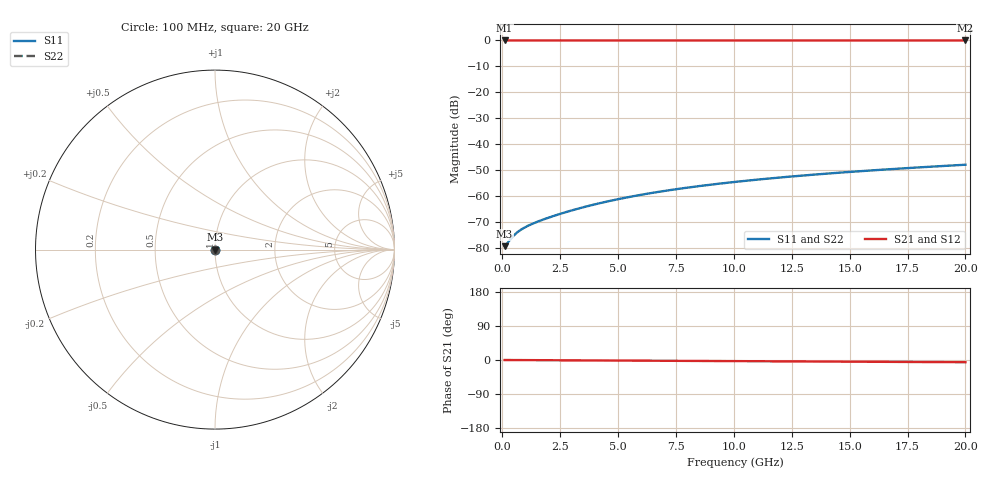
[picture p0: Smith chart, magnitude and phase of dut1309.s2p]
! Touchstone file exported from HFSS 2026.1.0
!  File:  C:/ffzhzh/LocalFiles/Ansys_Project_Files/temp_train_TSV_1309_1783194909_55132.aedt
!  Generated:  03:56:40 AM Jul  5, 2026
!  Design:  TSV
!  Project:  temp_train_TSV_1309_1783194909_55132
! Variables:
!  h_bsmrdl = 2um
!  h_ox = 20um
!  h_rdl = 5um
!  h_sub = 57.36um
!  h_tmrdl = 5um
!  h_tsv = 57.36um
!  h_via = 3um
!  l_bsmrdl = 300um
!  l_sub = 419.58um
!  l_tmrdl = 200um
!  m_sub = 200um
!  pitch = 37.68um
!  r_tsv = 9.79um
!  s_tmrdl = 10um
!  w_bsmrdl = 18um
!  w_sub = 500um
!  w_tmrdl = 12um
!  x_tsv_center1 = 206um
!  x_tsv_center2 = 524um
!  x_tsv_center3 = 736um
!  x_tsv_center4 = 1054um
!  x_tsv_center5 = 1266um
!  x_tsv_center6 = 1584um
# GHz S MA R 50.000000
! Terminal data exported
! Port[1] = TSV1_1_T1
! Port[2] = TSV1_1_T2
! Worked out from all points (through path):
!   200 points, 100 MHz to 20 GHz, reference 50 ohm
!   highest |S21| = 0.00 dB at 100 MHz (marker M1); lowest = 0.0 dB at 20 GHz (marker M2)
!   lowest |S11| = -79.5 dB at 100 MHz (marker M3), VSWR 1.00, Z = 50 + j0.00153 ohm
!   |S11| at or under -10 dB: start of sweep to end of sweep
!   |S22| runs from -79.5 to -48.0 dB; largest |S21 - S12| = 3e-15
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0.1  0.0001062 8.3  0.9999 -0.0  0.9999 -0.0  0.0001062 8.3
! Gamma 0 0 0 0
! Port Impedance 50 0 50 0
0.2  0.0001185 13.8  0.9999 -0.1  0.9999 -0.1  0.0001185 13.8
0.4  0.0001533 15.5  0.9999 -0.1  0.9999 -0.1  0.0001533 15.4
0.5  0.0001714 13.4  0.9998 -0.2  0.9998 -0.2  0.0001714 13.4
0.6  0.0001887 10.5  0.9998 -0.2  0.9998 -0.2  0.0001887 10.5
0.8  0.0002203 3.8  0.9998 -0.2  0.9998 -0.2  0.0002203 3.8
1.1  0.0002619 -6.2  0.9997 -0.3  0.9997 -0.3  0.0002619 -6.2
1.5  0.0003131 -17.4  0.9997 -0.5  0.9997 -0.5  0.0003131 -17.4
2.1  0.0003914 -29.6  0.9997 -0.6  0.9997 -0.6  0.0003914 -29.6
2.8  0.0004911 -39.2  0.9996 -0.8  0.9996 -0.8  0.000491 -39.2
3.5  0.0006002 -45.9  0.9996 -1.0  0.9996 -1.0  0.0006001 -45.9
4.3  0.0007347 -51.4  0.9995 -1.3  0.9995 -1.3  0.0007346 -51.4
5.1  0.0008774 -55.6  0.9995 -1.5  0.9995 -1.5  0.0008774 -55.6
5.9  0.001026 -59.0  0.9994 -1.8  0.9994 -1.8  0.001026 -59.0
6.8  0.0012 -62.0  0.9994 -2.0  0.9994 -2.0  0.001199 -62.0
8.4  0.001517 -66.4  0.9993 -2.5  0.9993 -2.5  0.001517 -66.4
10.1  0.001862 -69.9  0.9993 -3.0  0.9993 -3.0  0.001862 -69.9
11.7  0.002193 -72.5  0.9992 -3.5  0.9992 -3.5  0.002192 -72.5
13.4  0.002548 -74.8  0.9992 -4.0  0.9992 -4.0  0.002548 -74.8
15  0.002887 -76.6  0.9991 -4.4  0.9991 -4.4  0.002887 -76.6
16.7  0.003252 -78.2  0.9991 -4.9  0.9991 -4.9  0.003251 -78.2
20  0.003977 -80.8  0.999 -5.9  0.999 -5.9  0.003977 -80.8
